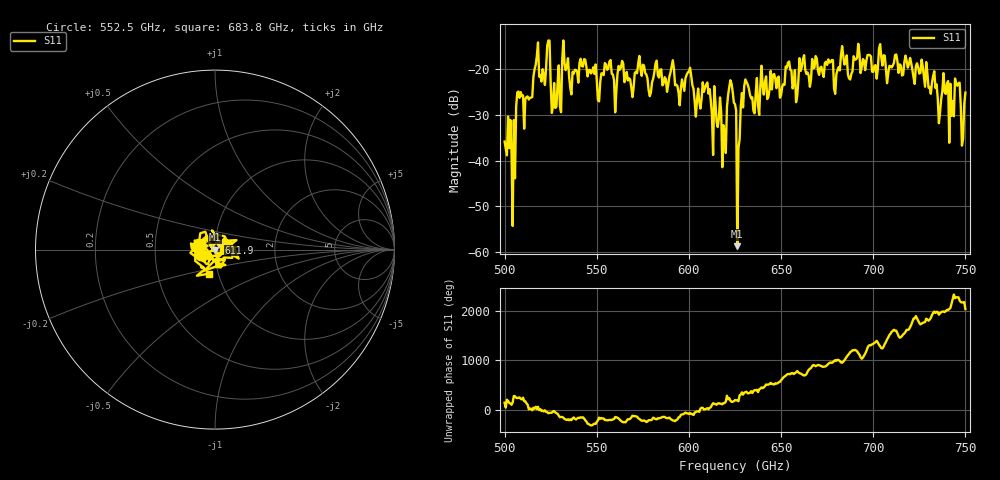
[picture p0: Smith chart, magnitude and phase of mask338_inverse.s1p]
!Created with skrf (http://scikit-rf.org).
# GHz S MA R 50.0
!freq magS11 angS11
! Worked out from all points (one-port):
!   401 points, 500 GHz to 750 GHz, reference 50 ohm
!   lowest |S11| = -58.7 dB at 626.2 GHz (marker M1), VSWR 1.00, Z = 49.9 - j0.0404 ohm
!   |S11| at or under -10 dB: start of sweep to end of sweep
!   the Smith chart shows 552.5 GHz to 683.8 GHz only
!   S11 on the Smith chart (normalised r, x): 552.5 GHz: 0.85, -0.06; 611.9 GHz: 1.04, +0.08; 683.8 GHz: 0.90, -0.25
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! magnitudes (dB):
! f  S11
! 500 GHz  -35.8
! 505 GHz  -31.2
! 507.5 GHz  -24.9
! 513.8 GHz  -26.3
! 516.9 GHz  -19.1
! 523.8 GHz  -13.8
! 526.9 GHz  -23.1
! 531.2 GHz  -18.2
! 552.5 GHz  -21.0
! 562.5 GHz  -20.2
! 579.4 GHz  -25.1
! 590.6 GHz  -19.4
! 593.8 GHz  -23.7
! 600 GHz  -20.6
! 611.9 GHz  -27.0
! 619.4 GHz  -33.9
! 622.5 GHz  -22.5
! 624.4 GHz  -27.4
! 625 GHz  -27.7
! 626.2 GHz  -58.7
! 631.2 GHz  -22.8
! 634.4 GHz  -26.2
! 656.2 GHz  -24.3
! 680 GHz  -21.1
! 683.8 GHz  -17.2
! 687.5 GHz  -22.3
! 718.8 GHz  -19.7
! 750 GHz  -25.2
